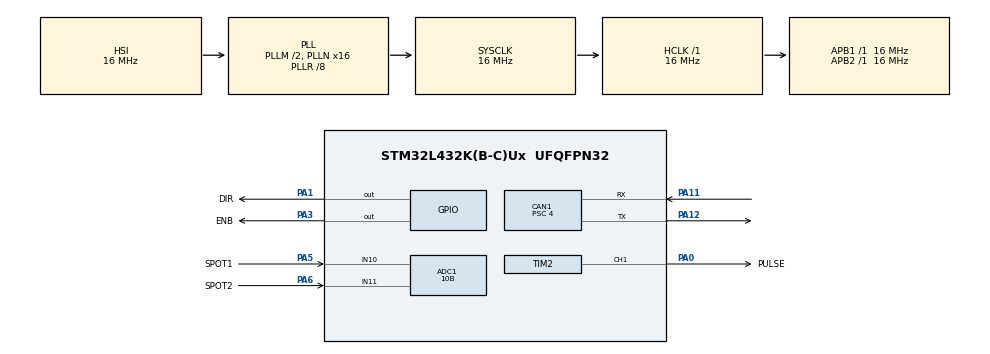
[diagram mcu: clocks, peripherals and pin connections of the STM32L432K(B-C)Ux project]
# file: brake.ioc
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ADC1.Channel-1\#ChannelRegularConversion=ADC_CHANNEL_10
ADC1.Channel-2\#ChannelRegularConversion=ADC_CHANNEL_11
ADC1.ContinuousConvMode=ENABLE
ADC1.DMAContinuousRequests=ENABLE
ADC1.EnableInjectedConversion=ENABLE
ADC1.NbrOfConversion=2
ADC1.NbrOfConversionFlag=1
ADC1.OffsetNumber-1\#ChannelRegularConversion=ADC_OFFSET_NONE
ADC1.OffsetNumber-2\#ChannelRegularConversion=ADC_OFFSET_NONE
ADC1.Overrun=ADC_OVR_DATA_OVERWRITTEN
ADC1.Rank-1\#ChannelRegularConversion=1
ADC1.Rank-2\#ChannelRegularConversion=2
ADC1.Resolution=ADC_RESOLUTION_10B
ADC1.SamplingTime-1\#ChannelRegularConversion=ADC_SAMPLETIME_247CYCLES_5
ADC1.SamplingTime-2\#ChannelRegularConversion=ADC_SAMPLETIME_247CYCLES_5
ADC1.master=1
CAN1.BS1=CAN_BS1_2TQ
CAN1.CalculateBaudRate=1000000
CAN1.CalculateTimeBit=1000
CAN1.CalculateTimeQuantum=250.0
CAN1.Prescaler=4
Dma.ADC1.0.Direction=DMA_PERIPH_TO_MEMORY
Dma.ADC1.0.Instance=DMA1_Channel1
Dma.ADC1.0.MemDataAlignment=DMA_MDATAALIGN_HALFWORD
Dma.ADC1.0.MemInc=DMA_MINC_ENABLE
Dma.ADC1.0.Mode=DMA_CIRCULAR
Dma.ADC1.0.PeriphDataAlignment=DMA_PDATAALIGN_HALFWORD
Dma.ADC1.0.PeriphInc=DMA_PINC_DISABLE
Dma.ADC1.0.Priority=DMA_PRIORITY_LOW
Dma.Request0=ADC1
Mcu.Family=STM32L4
Mcu.Name=STM32L432K(B-C)Ux
Mcu.Package=UFQFPN32
NVIC.DMA1_Channel1_IRQn=true\:0\:0\:false\:false\:true\:false\:true\:true
NVIC.PriorityGroup=NVIC_PRIORITYGROUP_4
NVIC.TIM7_IRQn=true\:0\:0\:false\:false\:true\:true\:true\:true
PA0.GPIO_Label=PULSE
PA0.Signal=S_TIM2_CH1
PA1.GPIO_Label=DIR
PA1.Signal=GPIO_Output
PA11.Mode=CAN_Activate
PA11.Signal=CAN1_RX
PA12.Mode=CAN_Activate
PA12.Signal=CAN1_TX
PA3.GPIO_Label=ENB
PA3.PinState=GPIO_PIN_SET
PA3.Signal=GPIO_Output
PA5.GPIO_Label=SPOT1
PA5.Signal=ADCx_IN10
PA6.GPIO_Label=SPOT2
PA6.Signal=ADCx_IN11
ProjectManager.HeapSize=0x200
ProjectManager.StackSize=0x400
ProjectManager.TargetToolchain=STM32CubeIDE
RCC.ADCFreq_Value=8000000
RCC.AHBFreq_Value=16000000
RCC.APB1Freq_Value=16000000
RCC.APB1TimFreq_Value=16000000
RCC.APB2Freq_Value=16000000
RCC.APB2TimFreq_Value=16000000
RCC.CortexFreq_Value=16000000
RCC.HCLKFreq_Value=16000000
RCC.HSE_VALUE=8000000
RCC.HSI48_VALUE=48000000
RCC.HSI_VALUE=16000000
RCC.LSE_VALUE=32768
RCC.MSI_VALUE=4000000
RCC.PLLM=2
RCC.PLLN=16
RCC.PLLR=RCC_PLLR_DIV8
RCC.PLLSAI1R=RCC_PLLR_DIV8
RCC.PLLSourceVirtual=RCC_PLLSOURCE_HSI
RCC.SYSCLKFreq_VALUE=16000000
RCC.SYSCLKSource=RCC_SYSCLKSOURCE_PLLCLK
RCC.USBFreq_Value=32000000
RCC.VCOOutputFreq_Value=128000000
SH.ADCx_IN10.0=ADC1_IN10,IN10-Single-Ended
SH.ADCx_IN11.0=ADC1_IN11,IN11-Single-Ended
SH.S_TIM2_CH1.0=TIM2_CH1,PWM Generation1 CH1
TIM2.Channel-PWM\ Generation1\ CH1=TIM_CHANNEL_1
TIM2.Period=100-1
TIM2.Prescaler=2000-1
TIM7.Period=100-1
TIM7.Prescaler=2000-1
VP_TIM2_VS_ClockSourceINT.Mode=Internal
VP_TIM7_VS_ClockSourceINT.Mode=Enable_Timer
board=custom

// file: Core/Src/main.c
/* USER CODE BEGIN Header */
/**
  ******************************************************************************
  * @file           : main.c
  * @brief          : Main program body
  ******************************************************************************
  * @attention
  *
  * Copyright (c) 2022 STMicroelectronics.
  * All rights reserved.
  *
  * This software is licensed under terms that can be found in the LICENSE file
  * in the root directory of this software component.
  * If no LICENSE file comes with this software, it is provided AS-IS.
  *
  ******************************************************************************
  */
/* USER CODE END Header */
#include "main.h"

/* USER CODE BEGIN Includes */
#include <timing.h>
#include <can0.h>
#include <math.h>
#include <stdbool.h>
#include <stdio.h>
/* USER CODE END Includes */

/* USER CODE BEGIN PTD */
struct proportional_data{
	uint32_t left_y, right_y;
	float left_x, right_x;
};

struct lowpass_data{
	uint16_t  input, output;
	float cutoff_frequency, dt;
};

struct lowpass32_data{
	uint32_t  input, output;
	float cutoff_frequency, dt;
};

enum Mode {
	RUN,
	CHECK_ASB,
};

typedef enum Mode Mode;
/* USER CODE END PTD */

/* USER CODE BEGIN PD */
#define ADC_SIZE 50
#define PRESSURE_SAMPLES_NUMBER 5

const float ADC_MAX_VALUE = 1024.0f;
const float ADC_MAX_VOLTAGE = 3.6f; // [V]
const float VOLTAGE_RATIO = 3.3f/5.0f;
const float TOLERANCE = 0.5f; // [bar]
const float STD_DEVIATION_LIMIT = 2.5f;
const float AMBIENT_PRESSURE_VOLTAGE = 0.5f; // [V]
const float BARS_PER_VOLT = 40.0f; // [bar/V]
/* USER CODE END PD */

 ADC_HandleTypeDef hadc1;
DMA_HandleTypeDef hdma_adc1;

CAN_HandleTypeDef hcan1;

TIM_HandleTypeDef htim2;
TIM_HandleTypeDef htim7;

/* USER CODE BEGIN PV */
//volatile float degrees;
struct proportional_data p_data_pressure_error;
struct lowpass_data lowpass_data_pressure, lowpass_data_angle;
struct lowpass32_data lowpass32_data;

float target_pressure=0; // [bar]
float current_pressure=0; // [bar]
float front_pressure=0; // [bar]
float tension=0; // [V]
float pressure_error=0; // [bar]
uint16_t prescaler=100-1;
uint16_t ADC2_Value[ADC_SIZE];
uint16_t filtered_ADC_pressure = 0;
uint16_t filtered_ADC_angle = 0;
uint32_t target_psc = 500;  // TODO: ricorda 400
uint16_t pressure_samples[PRESSURE_SAMPLES_NUMBER];
uint16_t k=0;
uint16_t cansendflag=0;

float flag=0;
float sigma=0;
uint16_t released_pedal_ADC=0; // must be set based on filtered_ADC_angle evaluated in fully released conditions
uint16_t released_pedal_ADC_tolerance=20;
float max_pressure = 6.0f; // [bar]

Mode mode = RUN;
uint16_t asbCheckCycles = 0;
uint16_t checkDone = 0;

bool isActive = true;
/* USER CODE END PV */

void SystemClock_Config(void);
static void MX_GPIO_Init(void);
static void MX_DMA_Init(void);
static void MX_ADC1_Init(void);
static void MX_TIM2_Init(void);
static void MX_TIM7_Init(void);
static void MX_CAN1_Init(void);
/* USER CODE BEGIN PFP */
void ASB_Check(){
	if(current_pressure >= target_pressure - TOLERANCE){
	    		uint8_t *data = (uint8_t*)(1);

	    		MmrCanHeader header = MMR_CAN_NormalHeader(MMR_CAN_MESSAGE_ID_AS_ASB_CHECK);
	    		MmrCanMessage asbCheckMessage = MMR_CAN_OutMessage(header);
	    		MMR_CAN_MESSAGE_SetPayload(&asbCheckMessage, data, sizeof(uint8_t));

	    		MMR_CAN_Send(&can0, &asbCheckMessage);

	    		mode = RUN;
	    		target_pressure=0.0f;
	    		asbCheckCycles=0;
	    		checkDone=1;
	    	} else {
	    		asbCheckCycles++;
	    	}

	    	if(asbCheckCycles>=400){
	    		uint8_t *data = (uint8_t*)(0);

	    		MmrCanHeader header = MMR_CAN_NormalHeader(MMR_CAN_MESSAGE_ID_AS_ASB_CHECK);
	    		MmrCanMessage asbCheckMessage = MMR_CAN_OutMessage(header);
	    		MMR_CAN_MESSAGE_SetPayload(&asbCheckMessage, data, sizeof(uint8_t));

	    		MMR_CAN_Send(&can0, &asbCheckMessage);

	    		mode = RUN;
	    		target_pressure=0.0f;
	    		asbCheckCycles=0;
	    		checkDone=1;
	    	}

}

void Autoset(){
	released_pedal_ADC=filtered_ADC_angle;

	MmrCanHeader header = MMR_CAN_NormalHeader(MMR_CAN_MESSAGE_ID_BRK_ZERO_PRESSURE_AUTOSET_OK);
	MmrCanMessage autosetOkMsg = MMR_CAN_OutMessage(header);

	MMR_CAN_Send(&can0, &autosetOkMsg);
}

float Average(uint16_t p[], int length){
    float avg=0;
    for (int i =0; i<length; i++){
        avg+=p[i];
    }
    return avg/(length);
}

float StandardDeviation(uint16_t p[], int length){
    float avg=Average(p, length);
    float sigma=0;
    for (int i =0; i<length; i++){
        sigma+=pow((float)(p[i]-avg), 2);
    }
    return sqrt(sigma/length);
}

uint32_t Proportional(float error, struct proportional_data p_data){
	float absolute_error=fabsf(error);
	if(absolute_error<p_data.left_x){
		return p_data.left_y;
	} else if(absolute_error>p_data.right_x){
		return p_data.right_y;
	} else{
		float proportional_slope=(p_data.left_y-p_data.right_y)/(p_data.left_x-p_data.right_x);
		return (proportional_slope*absolute_error)+p_data.left_y-(proportional_slope*p_data.left_x);
	}
}

static void brake(
  GPIO_PinState dirPinExpected,
  GPIO_PinState dirPinWrite
) {
  if (HAL_GPIO_ReadPin(DIR_GPIO_Port, DIR_Pin) == dirPinExpected){
    HAL_GPIO_WritePin(DIR_GPIO_Port, DIR_Pin, dirPinWrite);
    target_psc=p_data_pressure_error.left_y;
    lowpass32_data.output=target_psc;
  }

  TIM2->CCR1 = 50;
}

static void press() {
	brake(GPIO_PIN_SET, GPIO_PIN_RESET);
}

static void release() {

	/*
	 *  // SAFETY CHECK WITH POTENTIOMETER
	 *
	if(fabsf((float)filtered_ADC_angle -(float)released_pedal_ADC) < (float)released_pedal_ADC_tolerance){
		TIM2-CCR1=0;
	} else {
		brake(GPIO_PIN_RESET, GPIO_PIN_SET);
	}
	*/

	// NO SAFETY CHECK - NEEDS REPLACEMENT
	brake(GPIO_PIN_RESET, GPIO_PIN_SET);
}

uint16_t Lowpass(uint16_t input, struct lowpass_data *lp_data){
	lp_data->input=input;
	return lp_data->output += (lp_data->input - lp_data->output) * (1-exp(-lp_data->dt * lp_data->cutoff_frequency));
}

uint32_t Lowpass32(uint32_t input, struct lowpass32_data *lp32_data){
	lp32_data->input=input;
	float exp_portion=1.f-exp(-lp32_data->dt * lp32_data->cutoff_frequency);
	float input_minus_output=(float)lp32_data->input - (float)lp32_data->output;
	return lp32_data->output = (uint32_t)((float)lp32_data->output + (float)(input_minus_output * exp_portion));
}

void HAL_TIM_PeriodElapsedCallback(TIM_HandleTypeDef *htim)
{
  // Check which version of the timer triggered this callback
  if (htim == &htim7)
  {
	filtered_ADC_pressure=Lowpass(ADC2_Value[0], &lowpass_data_pressure); // A4 PA5 SPOT1
	filtered_ADC_angle=Lowpass(ADC2_Value[1], &lowpass_data_angle); //A5 PA6 SPOT2

    tension = ((filtered_ADC_pressure / ADC_MAX_VALUE) * ADC_MAX_VOLTAGE)/(VOLTAGE_RATIO);

    //current_pressure = (tension - AMBIENT_PRESSURE_VOLTAGE) * BARS_PER_VOLT;

    pressure_error = (target_pressure - current_pressure); // We calculate the error compared to the target

    if(k>=PRESSURE_SAMPLES_NUMBER-1){
    	k=0;
    } else k++;
    pressure_samples[k]=current_pressure;
    sigma = StandardDeviation(pressure_samples, PRESSURE_SAMPLES_NUMBER);
    if(sigma<STD_DEVIATION_LIMIT) {
    	target_psc=p_data_pressure_error.left_y;
    	lowpass32_data.output=target_psc;
    }

    if (pressure_error > TOLERANCE) {
      press();
      target_psc=Proportional(pressure_error, p_data_pressure_error);
      TIM2->PSC = Lowpass32(target_psc, &lowpass32_data);
    }
    else if (pressure_error < -TOLERANCE) {
      release();
      target_psc=Proportional(pressure_error, p_data_pressure_error);
      TIM2->PSC = Lowpass32(target_psc, &lowpass32_data);
    }
    else {
      target_psc=p_data_pressure_error.left_y;
      lowpass32_data.output=target_psc;
      TIM2->PSC=target_psc;
      TIM2->CCR1 = 0;
    }

    //if (filtered_ADC_angle) set the duty cycle to zero if going too far back
    // CAN LOGGING - SKIPPED AS CURRENTLY BRAKE PRESSURE IS PUBLISHED BY ECU @ID199
    /*
    if (cansendflag==5){
    	    uint8_t *data = (uint8_t*)(&current_pressure);

    	    MmrCanHeader header = MMR_CAN_NormalHeader(MMR_CAN_MESSAGE_ID_BRK_CURRENT_PRESSURE);
    	    MmrCanMessage currentPressureMsg = MMR_CAN_OutMessage(header);
    	    MMR_CAN_MESSAGE_SetPayload(&currentPressureMsg, data, sizeof(float));

    	    MMR_CAN_Send(&can0, &currentPressureMsg);

    	    cansendflag=0;
    } else {
    	cansendflag++;
    }
	*/
    if (mode == CHECK_ASB){
    	ASB_Check();
    }

  }
}
/* USER CODE END PFP */

int main(void)
{

  /* MCU Configuration--------------------------------------------------------*/

  /* Reset of all peripherals, Initializes the Flash interface and the Systick. */
  HAL_Init();

  /* Configure the system clock */
  SystemClock_Config();

  /* Initialize all configured peripherals */
  MX_GPIO_Init();
  MX_DMA_Init();
  MX_ADC1_Init();
  MX_TIM2_Init();
  MX_TIM7_Init();
  MX_CAN1_Init();
  /* USER CODE BEGIN 2 */
    if (!MMR_CAN0_Start(&hcan1)) {
      Error_Handler();
    }

    MMR_SetTickProvider(HAL_GetTick);

    HAL_ADC_Start_DMA(&hadc1, (uint16_t*)ADC2_Value, ADC_SIZE);
    HAL_TIM_Base_Start_IT(&htim7);
    HAL_TIM_PWM_Start(&htim2, TIM_CHANNEL_1);
  /* USER CODE END 2 */

  /* Infinite loop */
  /* USER CODE BEGIN WHILE */
    MmrCanBuffer buffer = {};
    MmrCanMessage message = {
      .payload = buffer,
    };

    // Definition of proportional parameters
    p_data_pressure_error.left_x=0.0f;
    p_data_pressure_error.left_y=500;  // TODO: remind 400
    p_data_pressure_error.right_x=2.0f;
    p_data_pressure_error.right_y=200;  // TODO: remind 100

    // Definition of lowpass parameters
    lowpass_data_pressure.input=ADC2_Value[0];
    lowpass_data_pressure.output=ADC2_Value[0];
    lowpass_data_pressure.cutoff_frequency=20.0f; // [rad/s]
    lowpass_data_pressure.dt=0.0125f; // TIM3 time period

    lowpass_data_angle.input=ADC2_Value[1];
    lowpass_data_angle.output=ADC2_Value[1];
    lowpass_data_angle.cutoff_frequency=20.0f; // [rad/s]
    lowpass_data_angle.dt=0.0125f; // TIM3 time period

    lowpass32_data.input=500;  // TODO: remind 400
    lowpass32_data.output=500;  // TODO: remind 400
    lowpass32_data.cutoff_frequency=15.0f; // [rad/s]
    lowpass32_data.dt=0.0125f; // TIM3 time period

    for (int i=0; i<PRESSURE_SAMPLES_NUMBER; i++){
    	pressure_samples[i]=0;
    }

    if(isActive) {
    	HAL_GPIO_WritePin(ENB_GPIO_Port, ENB_Pin, GPIO_PIN_SET);
    } else {
    	HAL_GPIO_WritePin(ENB_GPIO_Port, ENB_Pin, GPIO_PIN_RESET);
    }
  while (1)
  {

	  if (MMR_CAN_ReceiveAsync(&can0, &message) == MMR_TASK_COMPLETED) {
	  	      MmrCanHeader header = MMR_CAN_MESSAGE_GetHeader(&message);

	  	      switch (header.messageId) {
	  	      case MMR_CAN_MESSAGE_ID_ECU_BRAKE_PRESSURES:
	  	    	  current_pressure = (*(uint16_t*)buffer)/200.0f;
	  	    	  front_pressure = (*(uint16_t*)buffer + 2)/200.0f;

	  	    	  if(current_pressure >= 15.0f || front_pressure >= 15.0f)
	  	    		  HAL_GPIO_WritePin(GPIOA, GPIO_PIN_3, GPIO_PIN_RESET);
	  	    	  else
	  	    		  HAL_GPIO_WritePin(GPIOA, GPIO_PIN_3, GPIO_PIN_SET);
	  	    	  break;

	  	      case MMR_CAN_MESSAGE_ID_BRK_TARGET_PRESSURE:
	  	        // target_pressure = (((*(uint16_t*)buffer)-1000)/9000.0f) * max_pressure; // ECU, EMA
	  	    	target_pressure=(*(float*)buffer) * max_pressure;

	  	        break;

	  	      case MMR_CAN_MESSAGE_ID_BRK_PROPORTIONAL_ERROR_LEFT_X:
	  	    	  p_data_pressure_error.left_x=(*(float*)buffer);
	  	    	  break;

	  	      case MMR_CAN_MESSAGE_ID_BRK_PROPORTIONAL_ERROR_RIGHT_X:
	  	    	  p_data_pressure_error.right_x=(*(float*)buffer);
	  	    	  break;

	  	      case MMR_CAN_MESSAGE_ID_BRK_PROPORTIONAL_ERROR_LEFT_Y:
	  	    	  p_data_pressure_error.left_y=(*(uint32_t*)buffer);
	  	    	  break;

	  	      case MMR_CAN_MESSAGE_ID_BRK_PROPORTIONAL_ERROR_RIGHT_Y:
	  	    	  p_data_pressure_error.right_y=(*(uint32_t*)buffer);
	  	    	  break;

	  	      case MMR_CAN_MESSAGE_ID_BRK_RISE_CUTOFF_FREQUENCY:
	  	    	  lowpass32_data.cutoff_frequency=(*(float*)buffer);
	  	    	  break;

	  	      case MMR_CAN_MESSAGE_ID_BRK_ZERO_PRESSURE_AUTOSET:
	  	      	  Autoset();
	  	      	  break;

		  	  case MMR_CAN_MESSAGE_ID_BRK_MAX_PRESSURE:
		  	   	  max_pressure=(*(float*)buffer);
		  	   	  break;

		  	  case MMR_CAN_MESSAGE_ID_BRK_CHECK_ASB_STATE:
		  		  if(checkDone < 1){
			  		  target_pressure=max_pressure/2;
			  		  mode = CHECK_ASB;
		  		  }
		  		  break;
	  	      }
	  	    }

	  	    if(target_pressure>max_pressure){
	  	    	target_pressure=max_pressure;
	  	    } else if(target_pressure < 0.0f){
	  	    	target_pressure = 0.0f;
	  	    }

	  	    /*
	  	    if(current_angle>120){
	  	    	target_angle=-140;
	  	    } else if (current_angle < -120){
	  	    	target_angle=140;
	  	    }
	  	    */
    /* USER CODE END WHILE */

    /* USER CODE BEGIN 3 */
	  	  flag++;
  }
  /* USER CODE END 3 */
}

void SystemClock_Config(void)
{
  RCC_OscInitTypeDef RCC_OscInitStruct = {0};
  RCC_ClkInitTypeDef RCC_ClkInitStruct = {0};

  /** Configure the main internal regulator output voltage
  */
  if (HAL_PWREx_ControlVoltageScaling(PWR_REGULATOR_VOLTAGE_SCALE1) != HAL_OK)
  {
    Error_Handler();
  }

  /** Initializes the RCC Oscillators according to the specified parameters
  * in the RCC_OscInitTypeDef structure.
  */
  RCC_OscInitStruct.OscillatorType = RCC_OSCILLATORTYPE_HSI;
  RCC_OscInitStruct.HSIState = RCC_HSI_ON;
  RCC_OscInitStruct.HSICalibrationValue = RCC_HSICALIBRATION_DEFAULT;
  RCC_OscInitStruct.PLL.PLLState = RCC_PLL_ON;
  RCC_OscInitStruct.PLL.PLLSource = RCC_PLLSOURCE_HSI;
  RCC_OscInitStruct.PLL.PLLM = 2;
  RCC_OscInitStruct.PLL.PLLN = 16;
  RCC_OscInitStruct.PLL.PLLP = RCC_PLLP_DIV7;
  RCC_OscInitStruct.PLL.PLLQ = RCC_PLLQ_DIV2;
  RCC_OscInitStruct.PLL.PLLR = RCC_PLLR_DIV8;
  if (HAL_RCC_OscConfig(&RCC_OscInitStruct) != HAL_OK)
  {
    Error_Handler();
  }

  /** Initializes the CPU, AHB and APB buses clocks
  */
  RCC_ClkInitStruct.ClockType = RCC_CLOCKTYPE_HCLK|RCC_CLOCKTYPE_SYSCLK
                              |RCC_CLOCKTYPE_PCLK1|RCC_CLOCKTYPE_PCLK2;
  RCC_ClkInitStruct.SYSCLKSource = RCC_SYSCLKSOURCE_PLLCLK;
  RCC_ClkInitStruct.AHBCLKDivider = RCC_SYSCLK_DIV1;
  RCC_ClkInitStruct.APB1CLKDivider = RCC_HCLK_DIV1;
  RCC_ClkInitStruct.APB2CLKDivider = RCC_HCLK_DIV1;

  if (HAL_RCC_ClockConfig(&RCC_ClkInitStruct, FLASH_LATENCY_0) != HAL_OK)
  {
    Error_Handler();
  }
}

static void MX_ADC1_Init(void)
{

  ADC_ChannelConfTypeDef sConfig = {0};

  /** Common config
  */
  hadc1.Instance = ADC1;
  hadc1.Init.ClockPrescaler = ADC_CLOCK_ASYNC_DIV1;
  hadc1.Init.Resolution = ADC_RESOLUTION_10B;
  hadc1.Init.DataAlign = ADC_DATAALIGN_RIGHT;
  hadc1.Init.ScanConvMode = ADC_SCAN_ENABLE;
  hadc1.Init.EOCSelection = ADC_EOC_SINGLE_CONV;
  hadc1.Init.LowPowerAutoWait = DISABLE;
  hadc1.Init.ContinuousConvMode = ENABLE;
  hadc1.Init.NbrOfConversion = 2;
  hadc1.Init.DiscontinuousConvMode = DISABLE;
  hadc1.Init.ExternalTrigConv = ADC_SOFTWARE_START;
  hadc1.Init.ExternalTrigConvEdge = ADC_EXTERNALTRIGCONVEDGE_NONE;
  hadc1.Init.DMAContinuousRequests = ENABLE;
  hadc1.Init.Overrun = ADC_OVR_DATA_OVERWRITTEN;
  hadc1.Init.OversamplingMode = DISABLE;
  if (HAL_ADC_Init(&hadc1) != HAL_OK)
  {
    Error_Handler();
  }

  /** Configure Regular Channel
  */
  sConfig.Channel = ADC_CHANNEL_10;
  sConfig.Rank = ADC_REGULAR_RANK_1;
  sConfig.SamplingTime = ADC_SAMPLETIME_247CYCLES_5;
  sConfig.SingleDiff = ADC_SINGLE_ENDED;
  sConfig.OffsetNumber = ADC_OFFSET_NONE;
  sConfig.Offset = 0;
  if (HAL_ADC_ConfigChannel(&hadc1, &sConfig) != HAL_OK)
  {
    Error_Handler();
  }

  /** Configure Regular Channel
  */
  sConfig.Channel = ADC_CHANNEL_11;
  sConfig.Rank = ADC_REGULAR_RANK_2;
  if (HAL_ADC_ConfigChannel(&hadc1, &sConfig) != HAL_OK)
  {
    Error_Handler();
  }

}

static void MX_CAN1_Init(void)
{

  hcan1.Instance = CAN1;
  hcan1.Init.Prescaler = 4;
  hcan1.Init.Mode = CAN_MODE_NORMAL;
  hcan1.Init.SyncJumpWidth = CAN_SJW_1TQ;
  hcan1.Init.TimeSeg1 = CAN_BS1_2TQ;
  hcan1.Init.TimeSeg2 = CAN_BS2_1TQ;
  hcan1.Init.TimeTriggeredMode = DISABLE;
  hcan1.Init.AutoBusOff = DISABLE;
  hcan1.Init.AutoWakeUp = DISABLE;
  hcan1.Init.AutoRetransmission = DISABLE;
  hcan1.Init.ReceiveFifoLocked = DISABLE;
  hcan1.Init.TransmitFifoPriority = DISABLE;
  if (HAL_CAN_Init(&hcan1) != HAL_OK)
  {
    Error_Handler();
  }

}

static void MX_TIM2_Init(void)
{

  TIM_ClockConfigTypeDef sClockSourceConfig = {0};
  TIM_MasterConfigTypeDef sMasterConfig = {0};
  TIM_OC_InitTypeDef sConfigOC = {0};

  htim2.Instance = TIM2;
  htim2.Init.Prescaler = 2000-1;
  htim2.Init.CounterMode = TIM_COUNTERMODE_UP;
  htim2.Init.Period = 100-1;
  htim2.Init.ClockDivision = TIM_CLOCKDIVISION_DIV1;
  htim2.Init.AutoReloadPreload = TIM_AUTORELOAD_PRELOAD_DISABLE;
  if (HAL_TIM_Base_Init(&htim2) != HAL_OK)
  {
    Error_Handler();
  }
  sClockSourceConfig.ClockSource = TIM_CLOCKSOURCE_INTERNAL;
  if (HAL_TIM_ConfigClockSource(&htim2, &sClockSourceConfig) != HAL_OK)
  {
    Error_Handler();
  }
  if (HAL_TIM_PWM_Init(&htim2) != HAL_OK)
  {
    Error_Handler();
  }
  sMasterConfig.MasterOutputTrigger = TIM_TRGO_RESET;
  sMasterConfig.MasterSlaveMode = TIM_MASTERSLAVEMODE_DISABLE;
  if (HAL_TIMEx_MasterConfigSynchronization(&htim2, &sMasterConfig) != HAL_OK)
  {
    Error_Handler();
  }
  sConfigOC.OCMode = TIM_OCMODE_PWM1;
  sConfigOC.Pulse = 0;
  sConfigOC.OCPolarity = TIM_OCPOLARITY_HIGH;
  sConfigOC.OCFastMode = TIM_OCFAST_DISABLE;
  if (HAL_TIM_PWM_ConfigChannel(&htim2, &sConfigOC, TIM_CHANNEL_1) != HAL_OK)
  {
    Error_Handler();
  }
  HAL_TIM_MspPostInit(&htim2);

}

static void MX_TIM7_Init(void)
{

  TIM_MasterConfigTypeDef sMasterConfig = {0};

  htim7.Instance = TIM7;
  htim7.Init.Prescaler = 2000-1;
  htim7.Init.CounterMode = TIM_COUNTERMODE_UP;
  htim7.Init.Period = 100-1;
  htim7.Init.AutoReloadPreload = TIM_AUTORELOAD_PRELOAD_DISABLE;
  if (HAL_TIM_Base_Init(&htim7) != HAL_OK)
  {
    Error_Handler();
  }
  sMasterConfig.MasterOutputTrigger = TIM_TRGO_RESET;
  sMasterConfig.MasterSlaveMode = TIM_MASTERSLAVEMODE_DISABLE;
  if (HAL_TIMEx_MasterConfigSynchronization(&htim7, &sMasterConfig) != HAL_OK)
  {
    Error_Handler();
  }

}

static void MX_DMA_Init(void)
{

  /* DMA controller clock enable */
  __HAL_RCC_DMA1_CLK_ENABLE();

  /* DMA interrupt init */
  /* DMA1_Channel1_IRQn interrupt configuration */
  HAL_NVIC_SetPriority(DMA1_Channel1_IRQn, 0, 0);
  HAL_NVIC_EnableIRQ(DMA1_Channel1_IRQn);

}

static void MX_GPIO_Init(void)
{
  GPIO_InitTypeDef GPIO_InitStruct = {0};

  /* GPIO Ports Clock Enable */
  __HAL_RCC_GPIOA_CLK_ENABLE();

  /*Configure GPIO pin Output Level */
  HAL_GPIO_WritePin(DIR_GPIO_Port, DIR_Pin, GPIO_PIN_RESET);

  /*Configure GPIO pin Output Level */
  HAL_GPIO_WritePin(ENB_GPIO_Port, ENB_Pin, GPIO_PIN_SET);

  /*Configure GPIO pins : DIR_Pin ENB_Pin */
  GPIO_InitStruct.Pin = DIR_Pin|ENB_Pin;
  GPIO_InitStruct.Mode = GPIO_MODE_OUTPUT_PP;
  GPIO_InitStruct.Pull = GPIO_NOPULL;
  GPIO_InitStruct.Speed = GPIO_SPEED_FREQ_LOW;
  HAL_GPIO_Init(GPIOA, &GPIO_InitStruct);

}

void Error_Handler(void)
{
  __disable_irq();
  while (1)
  {
  }
}
